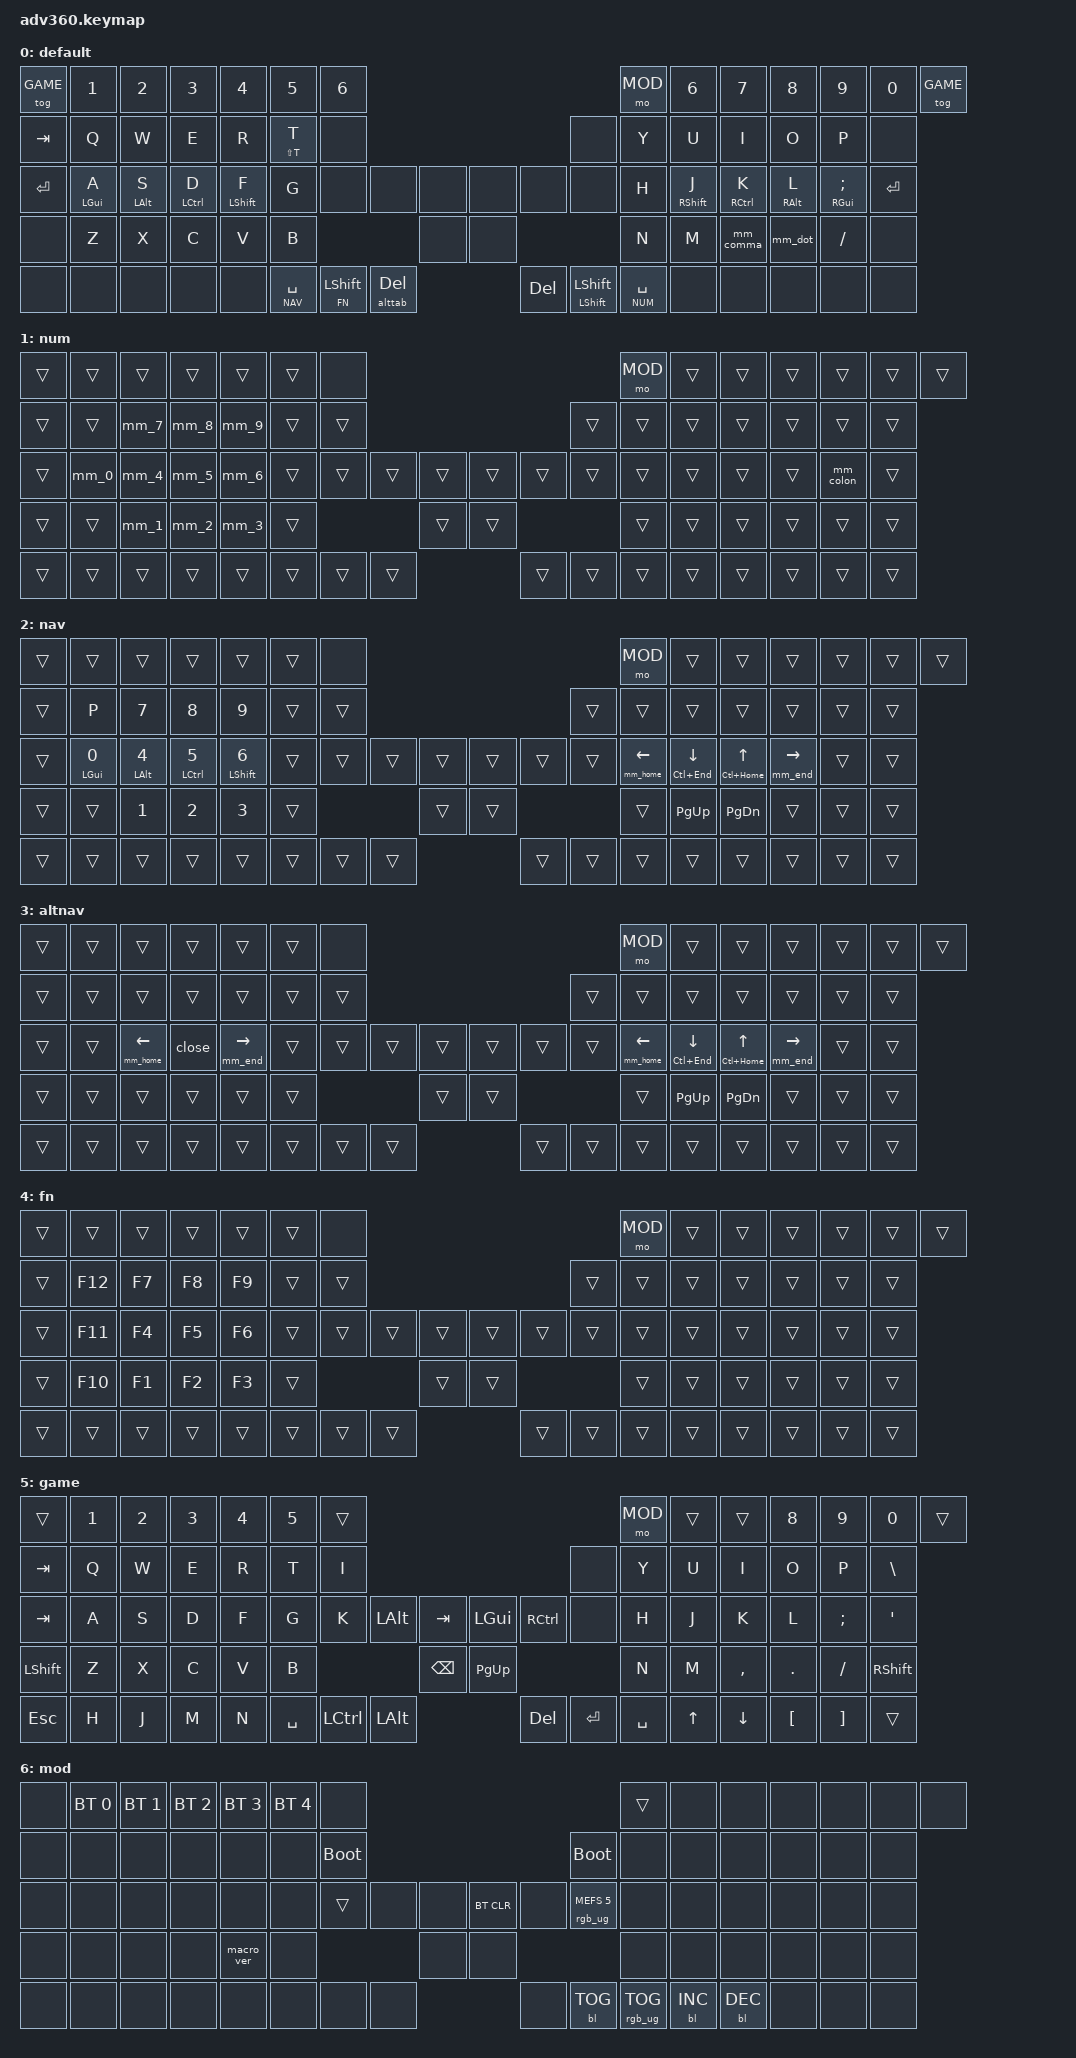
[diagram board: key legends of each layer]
// -------------------------------------------------------------------------
// Program: adv360.keymap
// Description: Kinesis Advantage 360 Pro ZMK configuration with home row mods,
//              extensive combos, and optimized timing for fast typing
// Author: Greg Tate
// -------------------------------------------------------------------------

#include <behaviors.dtsi>

#include <dt-bindings/zmk/keys.h>
#include <dt-bindings/zmk/bt.h>
#include <dt-bindings/zmk/rgb.h>
#include <dt-bindings/zmk/backlight.h>

// -------------------------------------------------------------------------
// Layer Definitions
// -------------------------------------------------------------------------

#define DEFAULT  0
#define NUM      1
#define NAV      2
#define ALTNAV   3
#define FN       4
#define GAME     5
#define MOD      6

#define COMBOLAYERS DEFAULT NUM NAV ALTNAV FN

// Special Key Definitions
// -------------------------------------------------------------------------
// -------------------------------------------------------------------------

#define XXX &none
#define ___ &trans

// -------------------------------------------------------------------------
// Timing Constants
// -------------------------------------------------------------------------

#define TAPPING_TERM 220
#define HMR_TAPPING_TERM 220
#define PRIOR_IDLE   170
#define QUICK_TAP    150

// -------------------------------------------------------------------------
// Key Position Definitions
// -------------------------------------------------------------------------

#define KEYS_LEFT    \
0  1  2  3  4  5  6  \
14 15 16 17 18 19 20 \
28 29 30 31 32 33 34 \
46 47 48 49 50 51    \
60 61 62 63 64

#define KEYS_RIGHT   \
7  8  9  10 11 12 13 \
21 22 23 24 25 26 27 \
39 40 41 42 43 44 45 \
   54 55 56 57 58 59 \
      71 72 73 74 75

#define THUMBS_LEFT  35 36 52 65 66 67
#define THUMBS_RIGHT 37 38 53 68 69 70
#define NUM_LAYER_KEYS 16 17 18 29 30 31 32 48 49 50 44
#define E_KEY 17

// -------------------------------------------------------------------------
// Combo Timing Constants
// -------------------------------------------------------------------------

#define COMBO_TERM_FAST 15
#define COMBO_TERM_MED  70         // History: 125 > 70
#define COMBO_TERM_SLOW 250

// Larger idle time reduces accidental combos when typing fast
#define COMBO_IDLE_FAST 130
#define COMBO_IDLE_MED  190
#define COMBO_IDLE_SLOW 250

// =========================================================================
// BEHAVIOR CONFIGURATIONS
// =========================================================================

// -------------------------------------------------------------------------
// Layer-tap settings
// -------------------------------------------------------------------------
&lt {
	flavor = "hold-preferred";
	require-prior-idle-ms = <130>;
	tapping-term-ms = <175>;
	quick_tap_ms = <180>;
};

// -------------------------------------------------------------------------
// Mod-tap settings (used by navigation combos)
// -------------------------------------------------------------------------
&mt {
	flavor = "tap-preferred";
	tapping-term-ms = <220>;
	quick_tap_ms = <220>;
	hold-trigger-key-positions = <0>;
};

// -------------------------------------------------------------------------
// Sticky-key settings
// -------------------------------------------------------------------------
&sk {
	release-after-ms = <900>;
	quick-release;// no double capitalization when rolling keys
};

// -------------------------------------------------------------------------
// Caps Word settings
// -------------------------------------------------------------------------
&caps_word {
	continue-list = <UNDERSCORE MINUS DEL BSPC>;
};

/ {

	// =========================================================================
	// MACROS
	// =========================================================================

	macros {
		// ALT+TAB window switcher with ALTNAV layer for navigation
		alttab: alttab {
			compatible     = "zmk,behavior-macro";
			#binding-cells = <0>;
			wait-ms = <40>;
			tap-ms  = <40>;
			bindings
			= <&macro_press   &mo ALTNAV>
			, <&macro_press   &kp LALT>
			, <&macro_tap     &kp TAB>
			, <&macro_pause_for_release>
			, <&macro_release &kp LALT>
			, <&macro_release &mo ALTNAV>
			;
		};

		// Close window (ALT+DEL)
		close: close {
			compatible     = "zmk,behavior-macro";
			#binding-cells = <0>;
			wait-ms = <40>;
			tap-ms  = <40>;
			bindings
			= <&macro_press   &kp LALT>
			, <&macro_tap     &kp DEL>
			, <&macro_release &kp LALT>
			;
		};

		// Arrow operator (=>)
		arrow: arrow {
			compatible     = "zmk,behavior-macro";
			#binding-cells = <0>;
			wait-ms = <40>;
			tap-ms  = <40>;
			bindings
			= <&macro_tap   &kp EQUAL>
			, <&macro_tap   &kp GT>
			;
		};

		// En dash (–) via Unicode
		endash: endash {
			compatible     = "zmk,behavior-macro";
			#binding-cells = <0>;
			wait-ms = <40>;
			tap-ms  = <40>;
			bindings
			= <&macro_tap     &kp KP_N2 &kp KP_N0 &kp KP_N1 &kp KP_N3>
			, <&macro_press   &kp LALT>
			, <&macro_tap     &kp X>
			, <&macro_release &kp LALT>
			;
		};
	};

	// =========================================================================
	// COMBOS
	// =========================================================================

	combos {
		compatible = "zmk,combos";

		// -------------------------------------------------------------------------
		// Modifier Combos
		// -------------------------------------------------------------------------

		// Left hand CTRL+SHIFT
		left-hand-control-shift {
			timeout-ms            = <COMBO_TERM_FAST>;
			require-prior-idle-ms = <COMBO_IDLE_SLOW>;
			key-positions         = <31 32>;
			bindings              = <&kp LC(LEFT_SHIFT)>;
			layers                = <COMBOLAYERS>;
		};

        // Right hand CTRL+SHIFT
        // right-hand-control-shift {
        //     timeout-ms            = <COMBO_TERM_FAST>;
        //     require-prior-idle-ms = <COMBO_IDLE_SLOW>;
        //     key-positions         = <41 42>;
        //     bindings              = <&kp RC(RIGHT_SHIFT)>;
        //     layers                = <COMBOLAYERS>;
        // };

		// -------------------------------------------------------------------------
		// Left Hand - Horizontal Combos
		// -------------------------------------------------------------------------

		reverse-tab {
			timeout-ms            = <COMBO_TERM_FAST>;
			require-prior-idle-ms = <COMBO_IDLE_SLOW>;
			key-positions         = <16 17>;
			bindings              = <&kp LS(TAB)>;
			layers                = <COMBOLAYERS>;
		};

		tab {
			timeout-ms            = <COMBO_TERM_FAST>;
			require-prior-idle-ms = <COMBO_IDLE_SLOW>;
			key-positions         = <17 18>;
			bindings              = <&kp TAB>;
			layers                = <COMBOLAYERS>;
		};

		// Hold for ALT+LCTRL, tap for ESC
		esc {
			timeout-ms            = <COMBO_TERM_SLOW>;
			require-prior-idle-ms = <COMBO_IDLE_SLOW>;
			key-positions         = <30 31>;
			bindings              = <&esc_acl LA(LCTRL) ESC>;
			layers                = <COMBOLAYERS>;
		};

		undo {
			timeout-ms            = <COMBO_TERM_SLOW>;
			require-prior-idle-ms = <COMBO_IDLE_SLOW>;
			key-positions         = <32 33>;
			bindings              = <&kp LC(Z)>;
			layers                = <COMBOLAYERS>;
		};

		del {
			timeout-ms            = <COMBO_TERM_SLOW>;
			require-prior-idle-ms = <COMBO_IDLE_SLOW>;
			key-positions         = <48 49>;
			bindings              = <&mt LC(DEL) DEL>;
			layers                = <COMBOLAYERS>;
		};

		bspc {
			timeout-ms            = <COMBO_TERM_SLOW>;
			require-prior-idle-ms = <COMBO_IDLE_FAST>;
			key-positions         = <49 50>;
			bindings              = <&mt LC(BSPC) BSPC>;
			layers                = <COMBOLAYERS>;
		};

		// -------------------------------------------------------------------------
		// Left Hand - Vertical Combos (Symbols)
		// -------------------------------------------------------------------------

		exclamation {
			timeout-ms            = <COMBO_TERM_SLOW>;
			require-prior-idle-ms = <COMBO_IDLE_SLOW>;
			key-positions         = <15 29>;
			bindings              = <&kp EXCL>;
			layers                = <COMBOLAYERS>;
		};

		percent {
			timeout-ms            = <COMBO_TERM_SLOW>;
			require-prior-idle-ms = <COMBO_IDLE_SLOW>;
			key-positions         = <16 30>;
			bindings              = <&kp PRCT>;
			layers                = <COMBOLAYERS>;
		};

		at {
			timeout-ms            = <COMBO_TERM_SLOW>;
			require-prior-idle-ms = <COMBO_IDLE_SLOW>;
			key-positions         = <17 31>;
			bindings              = <&kp AT>;
			layers                = <COMBOLAYERS>;
		};

		dollar {
			timeout-ms            = <COMBO_TERM_SLOW>;
			require-prior-idle-ms = <COMBO_IDLE_SLOW>;
			key-positions         = <18 32>;
			bindings              = <&kp DLLR>;
			layers                = <COMBOLAYERS>;
		};

		hash {
			timeout-ms            = <COMBO_TERM_SLOW>;
			require-prior-idle-ms = <COMBO_IDLE_SLOW>;
			key-positions         = <19 33>;
			bindings              = <&kp HASH>;
			layers                = <COMBOLAYERS>;
		};

		// -------------------------------------------------------------------------
		// Left Hand - Vertical Combos (Editing Commands)
		// -------------------------------------------------------------------------

		select-all {
			timeout-ms            = <COMBO_TERM_SLOW>;
			require-prior-idle-ms = <COMBO_IDLE_SLOW>;
			key-positions         = <29 47>;
			bindings              = <&kp LC(A)>;
			layers                = <COMBOLAYERS>;
		};

		cut {
			timeout-ms            = <COMBO_TERM_SLOW>;
			require-prior-idle-ms = <COMBO_IDLE_SLOW>;
			key-positions         = <30 48>;
			bindings              = <&kp LC(X)>;
			layers                = <COMBOLAYERS>;
		};

		copy {
			timeout-ms            = <COMBO_TERM_SLOW>;
			require-prior-idle-ms = <COMBO_IDLE_SLOW>;
			key-positions         = <31 49>;
			bindings              = <&kp LC(C)>;
			layers                = <COMBOLAYERS>;
		};

		paste {
			timeout-ms            = <COMBO_TERM_SLOW>;
			require-prior-idle-ms = <COMBO_IDLE_SLOW>;
			key-positions         = <32 50>;
			bindings              = <&kp LC(V)>;
			layers                = <COMBOLAYERS>;
		};

		bold {
			timeout-ms            = <COMBO_TERM_SLOW>;
			require-prior-idle-ms = <COMBO_IDLE_SLOW>;
			key-positions         = <33 51>;
			bindings              = <&kp LC(B)>;
			layers                = <COMBOLAYERS>;
		};

		// -------------------------------------------------------------------------
		// Right Hand - Horizontal Combos (Brackets & Quotes)
		// -------------------------------------------------------------------------

		underscore {
			timeout-ms            = <COMBO_TERM_SLOW>;
			require-prior-idle-ms = <COMBO_IDLE_FAST>;
			key-positions         = <22 23>;
			bindings              = <&mm_under>;
			layers                = <COMBOLAYERS>;
		};

		left_bracket {
			timeout-ms            = <20>;
			require-prior-idle-ms = <100>;
			key-positions         = <23 24>;
			bindings              = <&mm_lbracket>;
			layers                = <COMBOLAYERS>;
            // History: {tm:70,id:187}, {tm:35,id:100}, {tm:20, id:100}
		};

		right_bracket {
			timeout-ms            = <20>;
			require-prior-idle-ms = <100>;
			key-positions         = <24 25>;
			bindings              = <&mm_rbracket>;
			layers                = <COMBOLAYERS>;
            //History: {tm:70,id:187}, {tm:35,id:150}, {tm:35,id:100}, {tm:20, id:100}
		};

		left_angle {
			timeout-ms            = <50>;
			require-prior-idle-ms = <100>;
			key-positions         = <23 24 25>;
			bindings              = <&mm_lt>;
			layers                = <COMBOLAYERS>;
						// History: {tm: 250, id: 130}, {tm: 50, id: 100}
		};

		double_quotes {
			timeout-ms            = <COMBO_TERM_SLOW>;
			require-prior-idle-ms = <COMBO_IDLE_FAST>;
			key-positions         = <40 41>;
			bindings              = <&kp DQT>;
			layers                = <COMBOLAYERS>;
		};

		// Hold for CTRL+SHIFT, tap for parenthesis
		lparen {
			timeout-ms            = <COMBO_TERM_FAST>;
			require-prior-idle-ms = <100>;          // History: 130 > 100
			key-positions         = <41 42>;
			bindings              = <&lparen_csr LS(LCTRL) 0>;
			layers                = <COMBOLAYERS>;
		};

		// Hold for ALT+CTRL, tap for parenthesis
		rparen {
			timeout-ms            = <50>;      
			require-prior-idle-ms = <100>;
			key-positions         = <42 43>;
			bindings              = <&rparen_csr RA(RIGHT_CONTROL) 0>;
			layers                = <COMBOLAYERS>;
		};
		// history: {tm: 87, id 100}, {tm: 50, id: 100}, {tm: 35, id: 100}
		
		right_angle {
			timeout-ms            = <COMBO_TERM_SLOW>;
			require-prior-idle-ms = <COMBO_IDLE_FAST>;
			key-positions         = <41 42 43>;
			bindings              = <&mm_gt>;
			layers                = <COMBOLAYERS>;
		};

		quote {
			timeout-ms            = <COMBO_TERM_SLOW>;
			require-prior-idle-ms = <75>;               // changed from COMBO_IDLE_FAST to 75
			key-positions         = <54 55>;
			bindings              = <&kp SQT>;
			layers                = <COMBOLAYERS>;
		};

		lbrace {
			timeout-ms            = <COMBO_TERM_SLOW>;
			require-prior-idle-ms = <COMBO_IDLE_FAST>;
			key-positions         = <55 56>;
			bindings              = <&mm_lbrace>;
			layers                = <COMBOLAYERS>;
		};

		rbrace {
			timeout-ms            = <COMBO_TERM_SLOW>;
			require-prior-idle-ms = <COMBO_IDLE_FAST>;
			key-positions         = <56 57>;
			bindings              = <&mm_rbrace>;
			layers                = <COMBOLAYERS>;
		};

		// -------------------------------------------------------------------------
		// Right Hand - Vertical Combos (Operators)
		// -------------------------------------------------------------------------

		star {
			timeout-ms            = <COMBO_TERM_SLOW>;
			key-positions         = <22 40>;
			bindings              = <&kp STAR>;
			layers                = <COMBOLAYERS>;
		};

		plus {
			timeout-ms            = <COMBO_TERM_SLOW>;
			key-positions         = <23 41>;
			bindings              = <&kp PLUS>;
			layers                = <COMBOLAYERS>;
		};

		equal {
			timeout-ms            = <COMBO_TERM_SLOW>;
			key-positions         = <24 42>;
			bindings              = <&kp EQUAL>;
			layers                = <COMBOLAYERS>;
		};

		ampersand {
			timeout-ms            = <COMBO_TERM_SLOW>;
			key-positions         = <25 43>;
			bindings              = <&kp AMPS>;
			layers                = <COMBOLAYERS>;
		};

		caret {
			timeout-ms            = <COMBO_TERM_SLOW>;
			key-positions         = <26 44>;
			bindings              = <&kp CARET>;
			layers                = <COMBOLAYERS>;
		};

		grave {
				timeout-ms            = <COMBO_TERM_SLOW>;
				key-positions         = <40 54>;
				bindings              = <&mm_grave>;
				layers                = <COMBOLAYERS>;
		};

		minus {
			timeout-ms            = <500>;
			key-positions         = <41 55>;
			bindings              = <&mm_minus>;
			layers                = <COMBOLAYERS>;
			// History: {tm:300, id:130}
		};

		tilde {
			timeout-ms            = <COMBO_TERM_SLOW>;
			key-positions         = <42 56>;
			bindings              = <&mm_tilde>;
			layers                = <COMBOLAYERS>;
		};

		pipe {
			timeout-ms            = <500>;
			require-prior-idle-ms = <1>;
			key-positions         = <43 57>;
			bindings              = <&kp PIPE>;
			layers                = <COMBOLAYERS>;
            // History: {tm:300,id:75}, {tm: 400, id: 50}, {tm:400, id:1}, {tm:500, id:1}
		};

		backslash {
			timeout-ms            = <COMBO_TERM_SLOW>;
			key-positions         = <44 58>;
			bindings              = <&mm_bslh>;
			layers                = <COMBOLAYERS>;
		};
	};

	// =========================================================================
	// BEHAVIORS
	// =========================================================================

	behaviors {
		#include "macros.dtsi"
		#include "version.dtsi"

		// -------------------------------------------------------------------------
		// Home Row Mods - Left Hand
		// -------------------------------------------------------------------------

		// A key (LGUI) - tap-preferred for better tap responsiveness
		hma: home_row_mod_left_a {
			compatible                 = "zmk,behavior-hold-tap";
			#binding-cells             = <2>;
			bindings                   = <&kp>, <&kp>;
			flavor                     = "tap-preferred";
			tapping-term-ms            = <280>;
			require-prior-idle-ms      = <200>;
			quick-tap-ms               = <QUICK_TAP>;
			hold-trigger-key-positions = <KEYS_RIGHT THUMBS_RIGHT 17>;
			hold-trigger-on-release;
		};

		// S key (LALT) - balanced for reliable modifier activation
		hms: home_row_mod_left_s {
			compatible                 = "zmk,behavior-hold-tap";
			#binding-cells             = <2>;
			bindings                   = <&kp>, <&kp>;
			flavor                     = "balanced";
			tapping-term-ms            = <280>;
			require-prior-idle-ms      = <170>;
			quick-tap-ms               = <QUICK_TAP>;
			hold-trigger-key-positions = <KEYS_RIGHT THUMBS_RIGHT 17>;
			hold-trigger-on-release;
		};

		// D key (LCTRL) - balanced for reliable modifier activation
		hmd: home_row_mod_left_d {
			compatible                 = "zmk,behavior-hold-tap";
			#binding-cells             = <2>;
			bindings                   = <&kp>, <&kp>;
			flavor                     = "balanced";
			tapping-term-ms            = <280>;
			require-prior-idle-ms      = <130>;             // Hold Preferred History: 170 > 220 > 195; Balanced History: 130
			quick-tap-ms               = <QUICK_TAP>;
			hold-trigger-key-positions = <KEYS_RIGHT THUMBS_RIGHT E_KEY>;
			hold-trigger-on-release;
		};

		// F key (LSHFT) - hold-preferred for better modifier activation
		hmf: home_row_mod_left_f {
			compatible                 = "zmk,behavior-hold-tap";
			#binding-cells             = <2>;
			bindings                   = <&kp>, <&kp>;
			flavor                     = "balanced";
			tapping-term-ms            = <280>;
			require-prior-idle-ms      = <130>;
			quick-tap-ms               = <5>;
			hold-trigger-key-positions = <KEYS_RIGHT THUMBS_RIGHT 17>;
			hold-trigger-on-release;
		};

		// -------------------------------------------------------------------------
		// Home Row Mods - Right Hand
		// -------------------------------------------------------------------------

		// J key (RSHFT) - balanced for reliable modifier activation
		hmj: home_row_mod_right_j {
			compatible                 = "zmk,behavior-hold-tap";
			#binding-cells             = <2>;
			bindings                   = <&kp>, <&kp>;
			flavor                     = "balanced";
			tapping-term-ms            = <280>;
			require-prior-idle-ms      = <250>;
			quick-tap-ms               = <QUICK_TAP>;
			hold-trigger-key-positions = <KEYS_LEFT THUMBS_LEFT THUMBS_RIGHT>;
			hold-trigger-on-release;
		};

		// K key (RCTRL) - balanced for reliable modifier activation
		hmk: home_row_mod_right_k {
			compatible                 = "zmk,behavior-hold-tap";
			#binding-cells             = <2>;
			bindings                   = <&kp>, <&kp>;
			flavor                     = "balanced";
			tapping-term-ms            = <280>;
			require-prior-idle-ms      = <250>;
			quick-tap-ms               = <QUICK_TAP>;
			hold-trigger-key-positions = <KEYS_LEFT THUMBS_LEFT THUMBS_RIGHT>;
			hold-trigger-on-release;
		};

		// L key (RALT) - balanced for reliable modifier activation
		hml: home_row_mod_right_l {
			compatible                 = "zmk,behavior-hold-tap";
			#binding-cells             = <2>;
			bindings                   = <&kp>, <&kp>;
			flavor                     = "balanced";
			tapping-term-ms            = <280>;
			require-prior-idle-ms      = <250>;
			quick-tap-ms               = <QUICK_TAP>;
			hold-trigger-key-positions = <KEYS_LEFT THUMBS_LEFT THUMBS_RIGHT>;
			hold-trigger-on-release;
		};

		// ; key (RGUI) - balanced for reliable modifier activation
		hmc: home_row_mod_right_semi {
			compatible                 = "zmk,behavior-hold-tap";
			#binding-cells             = <2>;
			bindings                   = <&kp>, <&kp>;
			flavor                     = "balanced";
			tapping-term-ms            = <280>;
			require-prior-idle-ms      = <250>;
			quick-tap-ms               = <QUICK_TAP>;
			hold-trigger-key-positions = <KEYS_LEFT THUMBS_LEFT THUMBS_RIGHT>;
			hold-trigger-on-release;
		};

		// -------------------------------------------------------------------------
		// Thumb Key Hold-Tap Behaviors
		// -------------------------------------------------------------------------

		ltl: layer_tap_left_thumb {
			compatible            = "zmk,behavior-hold-tap";
			#binding-cells        = <2>;
			bindings              = <&mo>, <&kp>;
			flavor                = "tap-preferred";
			require-prior-idle-ms = <130>;
			tapping-term-ms       = <175>;
			quick_tap_ms          = <180>;
		};

		rtl: layer_tap_right_thumb {
			compatible                 = "zmk,behavior-hold-tap";
			#binding-cells             = <2>;
			bindings                   = <&mo>, <&kp>;
			flavor                     = "balanced";               // History: hold-preferred > balanced
			require-prior-idle-ms      = <65>;
			hold-trigger-key-positions = <NUM_LAYER_KEYS>;
			tapping-term-ms            = <175>;
			quick_tap_ms               = <180>;
            //Balanced History: {tm:175,id:130}, {tm:88,id:65}, {tm:175,id:65}
		};


		// -------------------------------------------------------------------------
		// Special Hold-Tap Behaviors
		// -------------------------------------------------------------------------

		// Left parenthesis with CTRL+SHIFT hold option
		lparen_csr: lparen_control_shift_right {
			compatible                 = "zmk,behavior-hold-tap";
			#binding-cells             = <2>;
			bindings                   = <&kp>, <&mm_lparen>;
			flavor                     = "hold-preferred";
			tapping-term-ms            = <TAPPING_TERM>;
			require-prior-idle-ms      = <PRIOR_IDLE>;
			quick-tap-ms               = <QUICK_TAP>;
            hold-while-undecided;
		};

		// Right parenthesis with ALT+CTRL hold option
		rparen_csr: rparen_control_shift_right {
			compatible                 = "zmk,behavior-hold-tap";
			#binding-cells             = <2>;
			bindings                   = <&kp>, <&mm_rparen>;
			flavor                     = "balanced";
			tapping-term-ms            = <TAPPING_TERM>;
			require-prior-idle-ms      = <100>;
			quick-tap-ms               = <QUICK_TAP>;
            hold-while-undecided;
		};

        // Hold T for capital T, tap for regular t
        ht_t: hold_tap_t {
            compatible            = "zmk,behavior-hold-tap";
            #binding-cells        = <2>;
            bindings              = <&kp>, <&kp>;
            flavor                = "tap-preferred";
            tapping-term-ms       = <220>;
            quick-tap-ms          = <220>;
            require-prior-idle-ms = <PRIOR_IDLE>;
        };

		// ESC with ALT+CTRL hold option
		esc_acl: esc_alt_ctrl_left {
			compatible                 = "zmk,behavior-hold-tap";
			#binding-cells             = <2>;
			bindings                   = <&kp>, <&kp>;
			flavor                     = "balanced";
			tapping-term-ms            = <TAPPING_TERM>;
			require-prior-idle-ms      = <PRIOR_IDLE>;
			quick-tap-ms               = <QUICK_TAP>;
            hold-while-undecided;
		};

		// Mod-tap for shift (hold for modifier, tap for sticky key)
		mts: mod_tap_shift {
			compatible            = "zmk,behavior-hold-tap";
			#binding-cells        = <2>;
			flavor                = "hold-preferred";
			tapping-term-ms       = <TAPPING_TERM>;
			quick-tap-ms          = <QUICK_TAP>;
			require-prior-idle-ms = <PRIOR_IDLE>;
			bindings              = <&kp>, <&sk>;
		};

		// Layer-tap for shift (hold for layer, tap for sticky shift)
		lts: layer_tap_shift {
			compatible            = "zmk,behavior-hold-tap";
			#binding-cells        = <2>;
			flavor                = "hold-preferred";
			tapping-term-ms       = <TAPPING_TERM>;
			quick-tap-ms          = <QUICK_TAP>;
			require-prior-idle-ms = <PRIOR_IDLE>;
			bindings              = <&mo>, <&sk>;
		};

		// ALT+TAB behavior (hold for alt-tab switcher, tap for key)
		atb: alt_tab {
			compatible            = "zmk,behavior-hold-tap";
			#binding-cells        = <2>;
			flavor                = "hold-preferred";
			tapping-term-ms       = <TAPPING_TERM>;
			quick-tap-ms          = <QUICK_TAP>;
			require-prior-idle-ms = <PRIOR_IDLE>;
			bindings              = <&alttab>, <&kp>;
		};

		// -------------------------------------------------------------------------
		// Navigation Behaviors
		// -------------------------------------------------------------------------

		// Left arrow with HOME hold option
		nav_left: nav_left {
			compatible                 = "zmk,behavior-hold-tap";
			#binding-cells             = <2>;
			flavor                     = "tap-preferred";
			tapping-term-ms            = <220>;
			quick-tap-ms               = <220>;
			hold-trigger-key-positions = <0>;
			bindings                   = <&mm_home>, <&kp>;
		};

		// Right arrow with END hold option
		nav_right: nav_right {
			compatible                 = "zmk,behavior-hold-tap";
			#binding-cells             = <2>;
			flavor                     = "tap-preferred";
			tapping-term-ms            = <220>;
			quick-tap-ms               = <220>;
			hold-trigger-key-positions = <0>;
			bindings                   = <&mm_end>, <&kp>;
		};

		// =========================================================================
		// MOD MORPHS
		// =========================================================================

		// -------------------------------------------------------------------------
		// Punctuation Mod Morphs
		// -------------------------------------------------------------------------

		// Minus (prevents shift from changing output)
		mm_minus: mm_minus {
			compatible     = "zmk,behavior-mod-morph";
			#binding-cells = <0>;
			bindings       = <&kp MINUS>, <&kp MINUS>;
			mods           = <(MOD_LSFT)>;
		};

		// Underscore (prevents shift from changing output)
		mm_under: mm_under {
			compatible     = "zmk,behavior-mod-morph";
			#binding-cells = <0>;
			bindings       = <&kp UNDER>, <&kp UNDER>;
			mods           = <(MOD_LSFT)>;
		};

		// Comma (prevents shift from changing output)
		mm_comma: mm_comma {
			compatible     = "zmk,behavior-mod-morph";
			#binding-cells = <0>;
			bindings       = <&kp COMMA>, <&kp COMMA>;
			mods           = <(MOD_LSFT)>;
		};

		// Period (prevents shift from changing output)
		mm_dot: mm_dot {
			compatible     = "zmk,behavior-mod-morph";
			#binding-cells = <0>;
			bindings       = <&kp DOT>, <&kp DOT>;
			mods           = <(MOD_LSFT)>;
		};

		// Colon (prevents shift from changing output)
		mm_colon: mm_colon {
			compatible     = "zmk,behavior-mod-morph";
			#binding-cells = <0>;
			bindings       = <&kp COLON>, <&kp COLON>;
			mods           = <(MOD_LSFT)>;
		};

		// Double quote (prevents shift from changing output)
		mm_dqt: mm_dqt {
			compatible     = "zmk,behavior-mod-morph";
			#binding-cells = <0>;
			bindings       = <&kp DQT>, <&kp DQT>;
			mods           = <(MOD_LSFT)>;
		};

		// Backslash (prevents shift from changing output)
		mm_bslh: mm_bslh {
			compatible     = "zmk,behavior-mod-morph";
			#binding-cells = <0>;
			bindings       = <&kp BSLH>, <&kp BSLH>;
			mods           = <(MOD_LSFT)>;
		};

		// Backtick (prevents shift from changing output)
		mm_grave: mm_grave {
			compatible     = "zmk,behavior-mod-morph";
			#binding-cells = <0>;
			bindings       = <&kp GRAVE>, <&kp GRAVE>;
			mods           = <(MOD_LSFT)>;
		};

		// Tilde (prevents shift from changing output)
		mm_tilde: mm_tilde {
			compatible     = "zmk,behavior-mod-morph";
			#binding-cells = <0>;
			bindings       = <&kp TILDE>, <&kp TILDE>;
			mods           = <(MOD_LSFT)>;
		};

		// -------------------------------------------------------------------------
		// Bracket & Parenthesis Mod Morphs
		// -------------------------------------------------------------------------

		// Left parenthesis (prevents shift from changing output)
		mm_lparen: mm_lparen {
			compatible     = "zmk,behavior-mod-morph";
			#binding-cells = <0>;
			bindings       = <&kp LPAR>, <&kp LPAR>;
			mods           = <(MOD_LSFT)>;
		};

		// Right parenthesis (prevents shift from changing output)
		mm_rparen: mm_rparen {
			compatible     = "zmk,behavior-mod-morph";
			#binding-cells = <0>;
			bindings       = <&kp RPAR>, <&kp RPAR>;
			mods           = <(MOD_LSFT)>;
		};

		// Greater than (prevents shift from changing output)
		mm_gt: mm_greater_than {
			compatible     = "zmk,behavior-mod-morph";
			#binding-cells = <0>;
			bindings       = <&kp GT>, <&kp GT>;
			mods           = <(MOD_LSFT)>;
		};

		// Less than (prevents shift from changing output)
		mm_lt: mm_less_than {
			compatible     = "zmk,behavior-mod-morph";
			#binding-cells = <0>;
			bindings       = <&kp LT>, <&kp LT>;
			mods           = <(MOD_LSFT)>;
		};

		// Left brace (prevents shift from changing output)
		mm_lbrace: mm_lbrace {
			compatible     = "zmk,behavior-mod-morph";
			#binding-cells = <0>;
			bindings       = <&kp LBRC>, <&kp LBRC>;
			mods           = <(MOD_LSFT)>;
		};

		// Left bracket (prevents shift from changing output)
		mm_lbracket: mm_lbracket {
			compatible     = "zmk,behavior-mod-morph";
			#binding-cells = <0>;
			bindings       = <&kp LBKT>, <&kp LBKT>;
			mods           = <(MOD_LSFT)>;
		};

		// Right brace (prevents shift from changing output)
		mm_rbrace: mm_rbrace {
			compatible     = "zmk,behavior-mod-morph";
			#binding-cells = <0>;
			bindings       = <&kp RBRC>, <&kp RBRC>;
			mods           = <(MOD_LSFT)>;
		};

		// Right bracket (prevents shift from changing output)
		mm_rbracket: mm_rbracket {
			compatible     = "zmk,behavior-mod-morph";
			#binding-cells = <0>;
			bindings       = <&kp RBKT>, <&kp RBKT>;
			mods           = <(MOD_LSFT)>;
		};

		// -------------------------------------------------------------------------
		// Navigation Mod Morphs
		// -------------------------------------------------------------------------

		// HOME (masks CTRL to avoid accidental document-level jumps)
		mm_home: mm_home {
			compatible     = "zmk,behavior-mod-morph";
			#binding-cells = <0>;
			bindings       = <&kp HOME>, <&kp HOME>;
			mods           = <(MOD_LCTL)>;
		};

		// END (masks CTRL to avoid accidental document-level jumps)
		mm_end: mm_end {
			compatible     = "zmk,behavior-mod-morph";
			#binding-cells = <0>;
			bindings       = <&kp END>, <&kp END>;
			mods           = <(MOD_LCTL)>;
		};

		// -------------------------------------------------------------------------
		// Number Row Mod Morphs (prevent shift from changing output)
		// -------------------------------------------------------------------------

		mm_1: mm_1 {
			compatible     = "zmk,behavior-mod-morph";
			#binding-cells = <0>;
			bindings       = <&kp N1>, <&kp N1>;
			mods           = <(MOD_LSFT)>;
		};

		mm_2: mm_2 {
			compatible     = "zmk,behavior-mod-morph";
			#binding-cells = <0>;
			bindings       = <&kp N2>, <&kp N2>;
			mods           = <(MOD_LSFT)>;
		};

		mm_3: mm_3 {
			compatible     = "zmk,behavior-mod-morph";
			#binding-cells = <0>;
			bindings       = <&kp N3>, <&kp N3>;
			mods           = <(MOD_LSFT)>;
		};

		mm_4: mm_4 {
			compatible     = "zmk,behavior-mod-morph";
			#binding-cells = <0>;
			bindings       = <&kp N4>, <&kp N4>;
			mods           = <(MOD_LSFT)>;
		};

		mm_5: mm_5 {
			compatible     = "zmk,behavior-mod-morph";
			#binding-cells = <0>;
			bindings       = <&kp N5>, <&kp N5>;
			mods           = <(MOD_LSFT)>;
		};

		mm_6: mm_6 {
			compatible     = "zmk,behavior-mod-morph";
			#binding-cells = <0>;
			bindings       = <&kp N6>, <&kp N6>;
			mods           = <(MOD_LSFT)>;
		};

		mm_7: mm_7 {
			compatible     = "zmk,behavior-mod-morph";
			#binding-cells = <0>;
			bindings       = <&kp N7>, <&kp N7>;
			mods           = <(MOD_LSFT)>;
		};

		mm_8: mm_8 {
			compatible     = "zmk,behavior-mod-morph";
			#binding-cells = <0>;
			bindings       = <&kp N8>, <&kp N8>;
			mods           = <(MOD_LSFT)>;
		};

		mm_9: mm_9 {
			compatible     = "zmk,behavior-mod-morph";
			#binding-cells = <0>;
			bindings       = <&kp N9>, <&kp N9>;
			mods           = <(MOD_LSFT)>;
		};

		mm_0: mm_0 {
			compatible     = "zmk,behavior-mod-morph";
			#binding-cells = <0>;
			bindings       = <&kp N0>, <&kp N0>;
			mods           = <(MOD_LSFT)>;
		};
	};

	// =========================================================================
	// KEYMAP
	// =========================================================================

	keymap {
		compatible = "zmk,keymap";

		// -------------------------------------------------------------------------
		// Layer 0: DEFAULT
		// -------------------------------------------------------------------------

		default {
			bindings = <
			&tog GAME  &kp N1        &kp N2        &kp N3         &kp N4         &kp N5          &kp N6                                                                                      &mo MOD  &kp N6  &kp N7         &kp N8         &kp N9         &kp N0           &tog GAME
			&kp TAB    &kp Q        &kp W        &kp E         &kp R         &ht_t LS(T) T  XXX                                                                                        XXX      &kp Y  &kp U         &kp I         &kp O         &kp P           XXX
			&kp ENTER  &hma LGUI A  &hms LALT S  &hmd LCTRL D  &hmf LSHFT F  &kp G          XXX                   XXX           XXX         XXX      XXX                               XXX      &kp H  &hmj RSHFT J  &hmk RCTRL K  &hml RALT L   &hmc RGUI SEMI  &kp ENTER
			XXX        &kp Z        &kp X        &kp C         &kp V         &kp B                                              XXX         XXX                                                 &kp N  &kp M         &mm_comma     &mm_dot       &kp FSLH        XXX
			XXX        XXX          XXX          XXX           XXX                               &ltl NAV SPACE  &lts FN LSHFT  &atb 0 DEL  &kp DEL  &mts LSHFT LSHFT  &rtl NUM SPACE                  XXX           XXX           XXX           XXX             XXX
			>;
		};

		// -------------------------------------------------------------------------
		// Layer 1: NUM (Number Layer)
		// -------------------------------------------------------------------------
		num {
			bindings = <
			___  ___    ___    ___    ___    ___  XXX                                &mo MOD  ___  ___  ___  ___  ___        ___
			___  ___    &mm_7  &mm_8  &mm_9  ___  ___                                ___      ___  ___  ___  ___  ___        ___
			___  &mm_0  &mm_4  &mm_5  &mm_6  ___  ___       ___  ___  ___  ___       ___      ___  ___  ___  ___  &mm_colon  ___
			___  ___    &mm_1  &mm_2  &mm_3  ___                 ___  ___                     ___  ___  ___  ___  ___        ___
			___  ___    ___    ___    ___              ___  ___  ___  ___  ___  ___                ___  ___  ___  ___        ___
			>;
		};

		// -------------------------------------------------------------------------
		// Layer 2: NAV (Navigation Layer)
		// -------------------------------------------------------------------------
		nav {
			bindings = <
			___  ___           ___          ___           ___           ___  XXX                                &mo MOD  ___               ___               ___              ___                 ___  ___
			___  &kp P         &kp N7       &kp N8        &kp N9        ___  ___                                ___      ___               ___               ___              ___                 ___  ___
			___  &hma LGUI N0  &hms LALT N4  &hmd LCTRL N5  &hmf LSHFT N6  ___  ___       ___  ___  ___  ___       ___      &nav_left 0 LEFT  &mt LC(END) DOWN  &mt LC(HOME) UP  &nav_right 0 RIGHT  ___  ___
			___  ___           &kp N1        &kp N2         &kp N3         ___                 ___  ___                     ___               &kp PG_UP         &kp PG_DN        ___                 ___  ___
			___  ___           ___           ___            ___                      ___  ___  ___  ___  ___  ___                             ___               ___              ___                 ___  ___
			>;
		};

		// -------------------------------------------------------------------------
		// Layer 3: ALTNAV (Alt-Tab Navigation Layer)
		// -------------------------------------------------------------------------
		altnav {
			bindings = <
			___  ___  ___               ___     ___                 ___  XXX                                &mo MOD  ___               ___               ___              ___                 ___  ___
			___  ___  ___               ___     ___                 ___  ___                                ___      ___               ___               ___              ___                 ___  ___
			___  ___  &nav_left 0 LEFT  &close  &nav_right 0 RIGHT  ___  ___       ___  ___  ___  ___       ___      &nav_left 0 LEFT  &mt LC(END) DOWN  &mt LC(HOME) UP  &nav_right 0 RIGHT  ___  ___
			___  ___  ___               ___     ___                 ___                 ___  ___                     ___               &kp PG_UP         &kp PG_DN        ___                 ___  ___
			___  ___  ___               ___     ___                           ___  ___  ___  ___  ___  ___                             ___               ___              ___                 ___  ___
			>;
		};

		// -------------------------------------------------------------------------
		// Layer 4: FN (Function Keys Layer)
		// -------------------------------------------------------------------------
		fn {
			bindings = <
			___  ___      ___     ___     ___     ___  XXX                                 &mo MOD  ___  ___  ___  ___  ___  ___
			___  &kp F12  &kp F7  &kp F8  &kp F9  ___  ___                                 ___      ___  ___  ___  ___  ___  ___
			___  &kp F11  &kp F4  &kp F5  &kp F6  ___  ___       ___  ___  ___  ___        ___      ___  ___  ___  ___  ___  ___
			___  &kp F10  &kp F1  &kp F2  &kp F3  ___                 ___  ___                      ___  ___  ___  ___  ___  ___
			___  ___      ___     ___     ___               ___  ___  ___  ___  ___  ___                 ___  ___  ___  ___  ___
			>;
		};


		// -------------------------------------------------------------------------
		// Layer 5: GAME
		// -------------------------------------------------------------------------
		game {
			bindings = <
			___        &kp N1  &kp N2  &kp N3  &kp N4  &kp N5  ___                                                                    &mo MOD  ___    ___     &kp N8     &kp N9    &kp N0    ___
			&kp TAB    &kp Q   &kp W   &kp E   &kp R   &kp T   &kp I                                                                  &none    &kp Y  &kp U   &kp I      &kp O     &kp P     &kp BSLH
			&kp TAB    &kp A   &kp S   &kp D   &kp F   &kp G   &kp K             &kp LALT   &kp TAB   &kp LGUI  &kp RCTRL             &none    &kp H  &kp J   &kp K      &kp L     &kp SEMI  &kp SQT
			&kp LSHFT  &kp Z   &kp X   &kp C   &kp V   &kp B                                &kp BSPC  &kp PG_UP                                &kp N  &kp M   &kp COMMA  &kp DOT   &kp FSLH  &kp RSHFT
			&kp ESC    &kp H   &kp J   &kp M   &kp N                  &kp SPACE  &kp LCTRL  &kp LALT  &kp DEL   &kp ENTER  &kp SPACE                  &kp UP  &kp DOWN   &kp LBKT  &kp RBKT  ___
			>;
		};

		// -------------------------------------------------------------------------
		// Layer 6: MOD (System/Modifier Layer)
		// -------------------------------------------------------------------------
		mod {
			bindings = <
			XXX &bt BT_SEL 0 &bt BT_SEL 1 &bt BT_SEL 2 &bt BT_SEL 3 &bt BT_SEL 4 XXX                                                      ___                     XXX  XXX         XXX         XXX  XXX  XXX
			XXX XXX          XXX          XXX          XXX          XXX          &bootloader                                              &bootloader             XXX  XXX         XXX         XXX  XXX  XXX
			XXX XXX          XXX          XXX          XXX          XXX          ___              XXX XXX &bt BT_CLR     XXX              &rgb_ug RGB_MEFS_CMD 5  XXX  XXX         XXX         XXX  XXX  XXX
			XXX XXX          XXX          XXX          &macro_ver   XXX                               XXX XXX                                                     XXX  XXX         XXX         XXX  XXX  XXX
			XXX XXX          XXX          XXX          XXX                                    XXX XXX XXX XXX &bl BL_TOG &rgb_ug RGB_TOG                               &bl BL_INC  &bl BL_DEC  XXX  XXX  XXX
			>;
		};
	};
};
